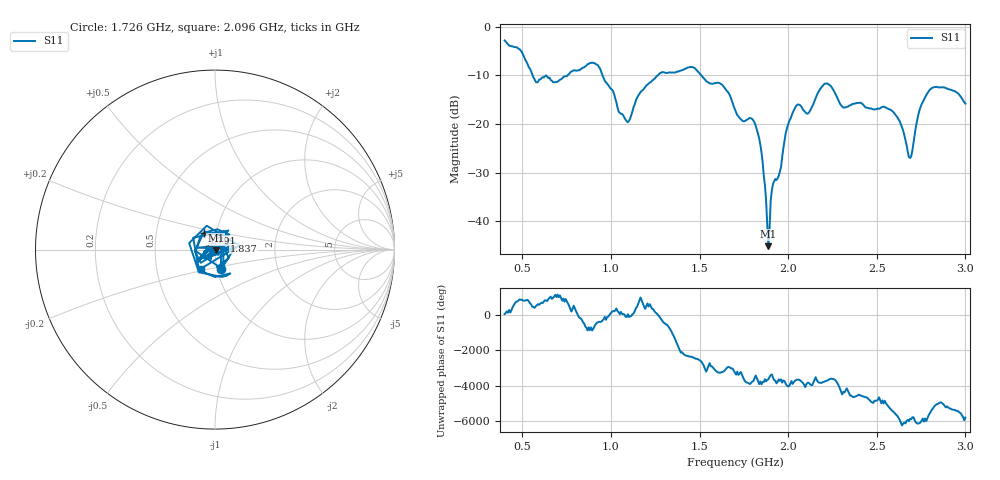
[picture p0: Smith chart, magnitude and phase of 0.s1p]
!Created with skrf (http://scikit-rf.org).
# Hz S RI R 50.0
!freq ReS11 ImS11
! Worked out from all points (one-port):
!   401 points, 400 MHz to 3 GHz, reference 50 ohm
!   lowest |S11| = -45.1 dB at 1.889 GHz (marker M1), VSWR 1.01, Z = 50.4 - j0.391 ohm
!   |S11| at or under -10 dB: 634.1 MHz to 755.2 MHz (121.1 MHz wide, 17.4 % of centre); 952.3 MHz to 1.265 GHz (312.3 MHz wide, 28.2 % of centre); 1.51 GHz to end of sweep (the widest 3 of 4)
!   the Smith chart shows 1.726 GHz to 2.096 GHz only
!   S11 on the Smith chart (normalised r, x): 1.726 GHz: 1.04, -0.23; 1.791 GHz: 0.87, +0.17; 1.837 GHz: 1.10, +0.11; 2.096 GHz: 0.84, -0.18
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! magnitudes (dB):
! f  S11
! 400 MHz  -2.8
! 491 MHz  -4.9
! 575.5 MHz  -11.3
! 725 MHz  -10.6
! 913.5 MHz  -7.7
! 1.05 GHz  -17.7
! 1.095 GHz  -19.6
! 1.206 GHz  -11.9
! 1.375 GHz  -9.2
! 1.622 GHz  -11.8
! 1.7 GHz  -17.0
! 1.726 GHz  -18.8
! 1.791 GHz  -18.8
! 1.837 GHz  -23.0
! 1.889 GHz  -45.1
! 1.915 GHz  -32.3
! 1.947 GHz  -30.6
! 1.992 GHz  -20.9
! 2.025 GHz  -17.7
! 2.096 GHz  -17.6
! 2.213 GHz  -11.7
! 2.35 GHz  -16.2
! 2.584 GHz  -17.3
! 2.675 GHz  -25.8
! 2.695 GHz  -26.6
! 2.747 GHz  -16.6
! 2.805 GHz  -12.8
! 3 GHz  -15.8
